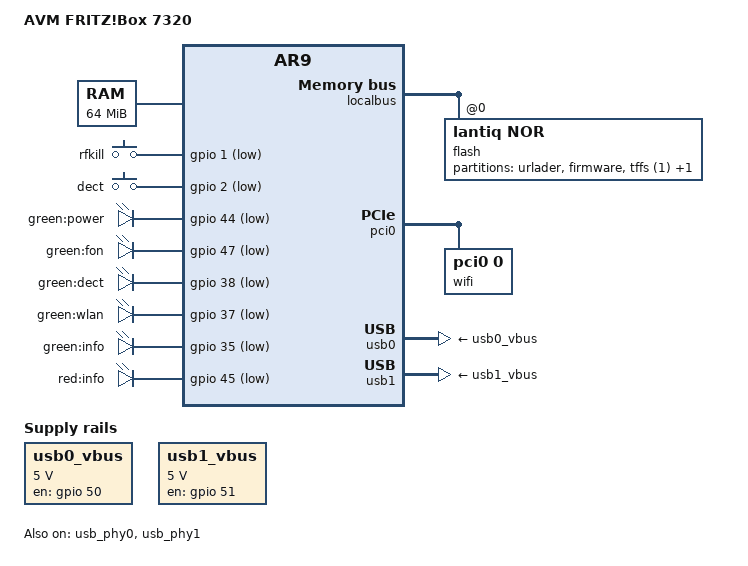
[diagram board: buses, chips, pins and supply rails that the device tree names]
#include "ar9.dtsi"

#include <dt-bindings/input/input.h>

/ {
	compatible = "avm,fritz7320", "lantiq,xway", "lantiq,ar9";
	model = "AVM FRITZ!Box 7320";

	chosen {
		bootargs = "console=ttyLTQ0,115200";
	};

	aliases {
		led-boot = &power;
		led-failsafe = &power;
		led-running = &power;
		led-upgrade = &power;

		led-dsl = &info_green;
		led-wifi = &wlan;
	};

	memory@0 {
		device_type = "memory";
		reg = <0x0 0x4000000>;
	};

	keys {
		compatible = "gpio-keys-polled";
		poll-interval = <100>;

		rfkill {
			label = "rfkill";
			gpios = <&gpio 1 GPIO_ACTIVE_LOW>;
			linux,code = <KEY_RFKILL>;
		};
		dect {
			label = "dect";
			gpios = <&gpio 2 GPIO_ACTIVE_LOW>;
			linux,code = <KEY_PHONE>;
		};
	};

	leds {
		compatible = "gpio-leds";
		power: power {
			label = "green:power";
			gpios = <&gpio 44 GPIO_ACTIVE_LOW>;
			default-state = "keep";
		};
		voice {
			label = "green:fon";
			gpios = <&gpio 47 GPIO_ACTIVE_LOW>;
		};
		dect {
			label = "green:dect";
			gpios = <&gpio 38 GPIO_ACTIVE_LOW>;
		};
		wlan: wlan {
			label = "green:wlan";
			gpios = <&gpio 37 GPIO_ACTIVE_LOW>;
		};
		info_green: info_green {
			label = "green:info";
			gpios = <&gpio 35 GPIO_ACTIVE_LOW>;
		};
		info_red {
			label = "red:info";
			gpios = <&gpio 45 GPIO_ACTIVE_LOW>;
		};
	};

	usb0_vbus: regulator-usb0-vbus {
		compatible = "regulator-fixed";

		regulator-name = "USB0_VBUS";

		regulator-min-microvolt = <5000000>;
		regulator-max-microvolt = <5000000>;

		gpio = <&gpio 50 GPIO_ACTIVE_HIGH>;
		enable-active-high;
	};

	usb1_vbus: regulator-usb1-vbus {
		compatible = "regulator-fixed";

		regulator-name = "USB1_VBUS";

		regulator-min-microvolt = <5000000>;
		regulator-max-microvolt = <5000000>;

		gpio = <&gpio 51 GPIO_ACTIVE_HIGH>;
		enable-active-high;
	};
};

&gsw {
	phy-mode = "mii";
	mtd-mac-address = <&ath9k_cal 0xa91>;
	mtd-mac-address-increment = <(-2)>;
};

&gpio {
	pinctrl-names = "default";
	pinctrl-0 = <&state_default>;

	state_default: pinmux {
		usb0_vbus {
			lantiq,pins = "io50";
			lantiq,pull = <0>;
			lantiq,open-drain = <0>;
			lantiq,output = <1>;
		};
		usb1_vbus {
			lantiq,pins = "io51";
			lantiq,pull = <0>;
			lantiq,open-drain = <0>;
			lantiq,output = <1>;
		};
	};
};

&localbus {
	flash@0 {
		compatible = "lantiq,nor";
		bank-width = <2>;
		reg = <0 0x0 0x1000000>;

		partitions {
			compatible = "fixed-partitions";
			#address-cells = <1>;
			#size-cells = <1>;

			ath9k_cal: partition@0 {
				label = "urlader";
				reg = <0x00000 0x20000>;
				read-only;
			};

			partition@20000 {
				label = "firmware";
				reg = <0x20000 0xf60000>;
			};

			partition@f80000 {
				label = "tffs (1)";
				reg = <0xf80000 0x40000>;
				read-only;
			};

			partition@fc0000 {
				label = "tffs (2)";
				reg = <0xfc0000 0x40000>;
				read-only;
			};
		};
	};
};

&pci0 {
	status = "okay";

	pinctrl-0 = <&pci_gnt1_pins>, <&pci_gnt2_pins>,
		    <&pci_gnt3_pins>, <&pci_gnt4_pins>,
		    <&pci_req1_pins>, <&pci_req2_pins>,
		    <&pci_req3_pins>, <&pci_req4_pins>;

	req-mask = <0xf>;
	gpio-reset = <&gpio 21 GPIO_ACTIVE_HIGH>;

	wifi@0,0 {
		compatible = "pci0,0";
		reg = <0x7000 0 0 0 0>;
		qca,no-eeprom; /* load from ath9k-eeprom-pci-0000:00:0e.0.bin */
	};
};

&usb_phy0 {
	status = "okay";
};

&usb_phy1 {
	status = "okay";
};

&usb0 {
	status = "okay";
	vbus-supply = <&usb0_vbus>;
};

&usb1 {
	status = "okay";
	vbus-supply = <&usb1_vbus>;
};
